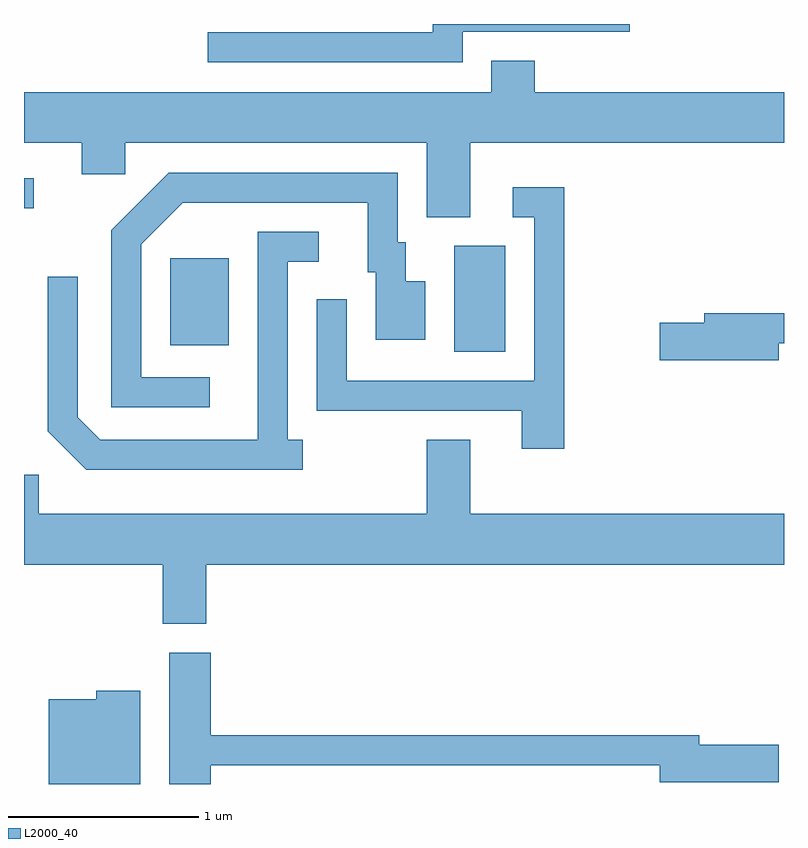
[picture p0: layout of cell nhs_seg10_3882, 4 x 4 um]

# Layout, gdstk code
import gdstk
lib = gdstk.Library(unit=1e-6, precision=1e-09)
def R(c, l, rs):  # rectangles x0, y0, x1, y1
    for r in rs: c.add(gdstk.rectangle(r[:2], r[2:], *l))
def P(c, l, *ps):  # polygons
    for p in ps: c.add(gdstk.Polygon(p, *l))
L2000_40 = (2000, 40)

nhs_seg10_3882 = lib.new_cell('nhs_seg10_3882')
R(nhs_seg10_3882, L2000_40, [(301.876,2132.796,302.144,2133.354), (300.381,2132.831,300.689,2133.289), (299.611,2133.551,299.663,2133.709)])
P(nhs_seg10_3882, L2000_40, [(301.919,2134.481),(302.798,2134.481),(302.798,2134.522),(301.761,2134.522),(301.761,2134.479),(300.578,2134.479),(300.578,2134.321),(301.919,2134.321)],
  [(301.959,2133.896),(303.611,2133.896),(303.611,2134.164),(302.299,2134.164),(302.299,2134.329),(302.071,2134.329),(302.071,2134.164),(299.611,2134.164),(299.611,2133.896),(299.916,2133.896),(299.916,2133.731),(300.144,2133.731),(300.144,2133.896),(301.731,2133.896),(301.731,2133.506),(301.959,2133.506)],
  [(300.588,2132.664),(300.229,2132.664),(300.229,2133.364),(300.447,2133.581),(301.421,2133.581),(301.421,2133.216),(301.461,2133.216),(301.461,2132.861),(301.724,2132.861),(301.724,2133.169),(301.619,2133.169),(301.619,2133.374),(301.579,2133.374),(301.579,2133.739),(300.374,2133.739),(300.071,2133.437),(300.071,2132.506),(300.588,2132.506)],
  [(302.454,2133.664),(302.183,2133.664),(302.183,2133.506),(302.296,2133.506),(302.296,2132.644),(301.309,2132.644),(301.309,2133.073),(301.151,2133.073),(301.151,2132.486),(302.231,2132.486),(302.231,2132.286),(302.454,2132.286)],
  [(301.078,2132.334),(300.999,2132.334),(300.999,2133.271),(301.163,2133.271),(301.163,2133.429),(300.841,2133.429),(300.841,2132.334),(300.012,2132.334),(299.894,2132.452),(299.894,2133.193),(299.736,2133.193),(299.736,2132.379),(299.939,2132.176),(301.078,2132.176)],
  [(303.584,2132.841),(303.611,2132.841),(303.611,2132.999),(303.191,2132.999),(303.191,2132.949),(302.956,2132.949),(302.956,2132.751),(303.584,2132.751)],
  [(300.569,2131.676),(303.611,2131.676),(303.611,2131.944),(301.959,2131.944),(301.959,2132.334),(301.731,2132.334),(301.731,2131.944),(299.689,2131.944),(299.689,2132.149),(299.611,2132.149),(299.611,2131.676),(300.341,2131.676),(300.341,2131.366),(300.569,2131.366)],
  [(300.594,2130.621),(302.956,2130.621),(302.956,2130.531),(303.584,2130.531),(303.584,2130.729),(303.164,2130.729),(303.164,2130.779),(300.594,2130.779),(300.594,2131.214),(300.376,2131.214),(300.376,2130.522),(300.594,2130.522)],
  [(300.224,2131.014),(299.991,2131.014),(299.991,2130.969),(299.741,2130.969),(299.741,2130.522),(300.224,2130.522)])

lib.write_gds('nhs_seg10_3882.gds')
